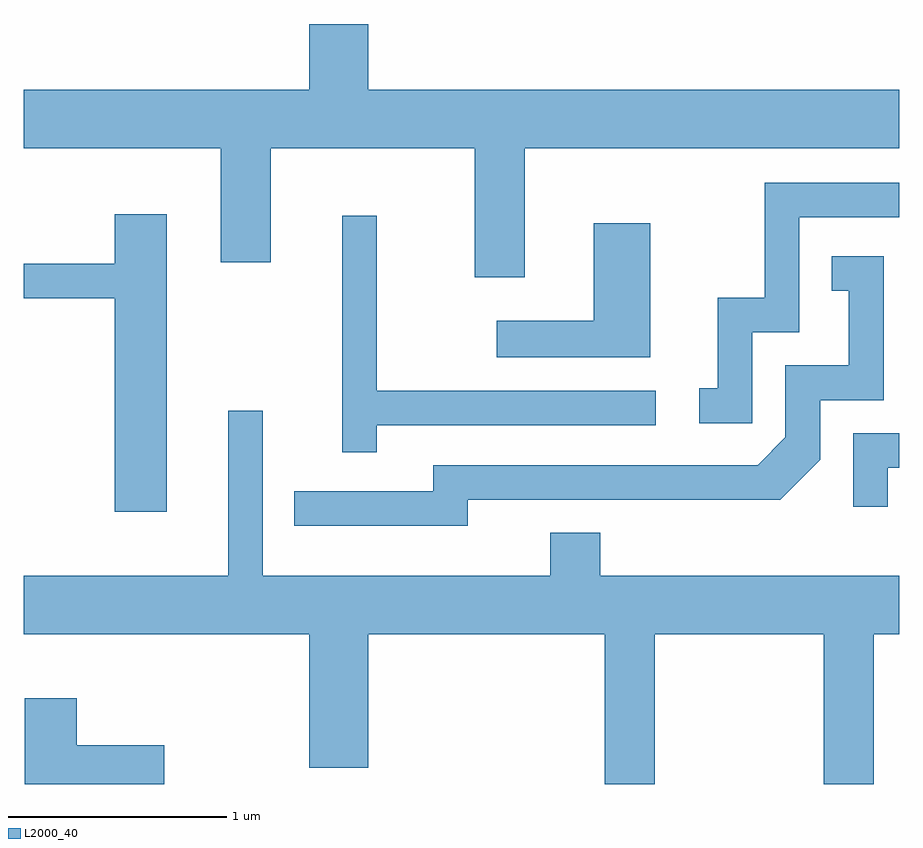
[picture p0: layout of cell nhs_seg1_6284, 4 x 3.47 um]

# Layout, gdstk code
import gdstk
lib = gdstk.Library(unit=1e-6, precision=1e-09)
def P(c, l, *ps):  # polygons
    for p in ps: c.add(gdstk.Polygon(p, *l))
L2000_40 = (2000, 40)

nhs_seg1_6284 = lib.new_cell('nhs_seg1_6284')
P(nhs_seg1_6284, L2000_40, [(375.899,970.616),(377.611,970.616),(377.611,970.884),(375.184,970.884),(375.184,971.184),(374.916,971.184),(374.916,970.884),(373.611,970.884),(373.611,970.616),(374.511,970.616),(374.511,970.096),(374.739,970.096),(374.739,970.616),(375.671,970.616),(375.671,970.026),(375.899,970.026)],
  [(376.939,969.776),(377.154,969.776),(377.154,970.301),(377.611,970.301),(377.611,970.459),(376.996,970.459),(376.996,969.934),(376.781,969.934),(376.781,969.519),(376.698,969.519),(376.698,969.361),(376.939,969.361)],
  [(374.264,970.314),(374.026,970.314),(374.026,970.089),(373.611,970.089),(373.611,969.931),(374.026,969.931),(374.026,968.956),(374.264,968.956)],
  [(375.224,969.351),(376.498,969.351),(376.498,969.509),(375.224,969.509),(375.224,970.308),(375.066,970.308),(375.066,969.228),(375.224,969.228)],
  [(376.474,970.274),(376.216,970.274),(376.216,969.829),(375.773,969.829),(375.773,969.661),(376.474,969.661)],
  [(375.639,969.011),(377.067,969.011),(377.249,969.194),(377.249,969.466),(377.539,969.466),(377.539,970.124),(377.303,970.124),(377.303,969.966),(377.381,969.966),(377.381,969.624),(377.091,969.624),(377.091,969.297),(376.964,969.169),(375.481,969.169),(375.481,969.049),(374.848,969.049),(374.848,968.891),(375.639,968.891)],
  [(376.494,968.396),(377.266,968.396),(377.266,967.712),(377.494,967.712),(377.494,968.396),(377.611,968.396),(377.611,968.664),(376.244,968.664),(376.244,968.859),(376.016,968.859),(376.016,968.664),(374.704,968.664),(374.704,969.418),(374.546,969.418),(374.546,968.664),(373.611,968.664),(373.611,968.396),(374.916,968.396),(374.916,967.786),(375.184,967.786),(375.184,968.396),(376.266,968.396),(376.266,967.712),(376.494,967.712)],
  [(377.559,969.156),(377.611,969.156),(377.611,969.314),(377.401,969.314),(377.401,968.978),(377.559,968.978)],
  [(374.254,967.889),(373.854,967.889),(373.854,968.104),(373.616,968.104),(373.616,967.712),(374.254,967.712)])

lib.write_gds('nhs_seg1_6284.gds')
